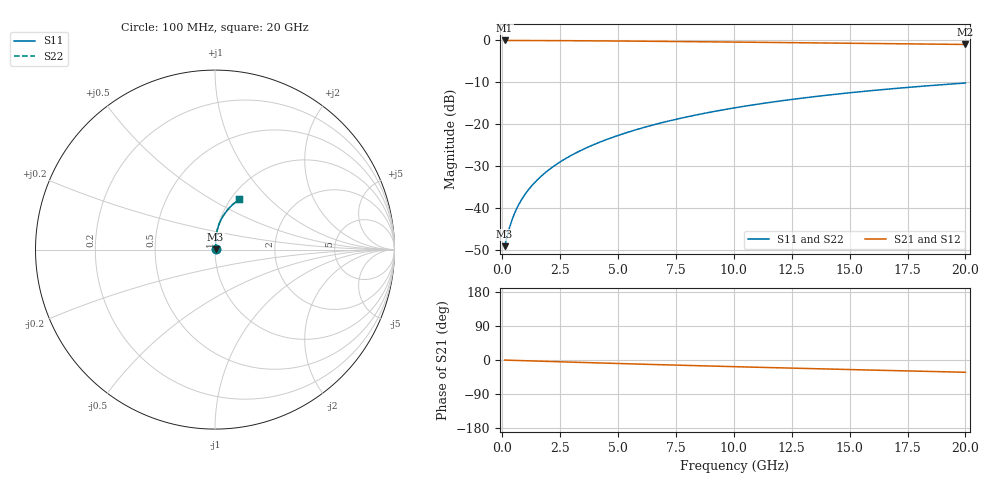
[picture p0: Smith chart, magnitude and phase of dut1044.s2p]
! Touchstone file exported from HFSS 2024.1.0
!  File:  C:/UserFiles/LocalFiles/RDL_TSV_Batchsim/temp_RDL_bottom_1044_1780051703.aedt
!  Generated:  06:50:56 PM May 29, 2026
!  Design:  RDL_bottom
!  Project:  temp_RDL_bottom_1044_1780051703
!  Setup:  Setup1
!  Solution:  Sweep
! Variables:
!  dtsv = 10.80580581um
!  hbump = 3um
!  htsv = 50.78um
!  ldown = 452.35um
!  lrdl = 100um
!  p = 40
!  p1 = 45.91um
!  rhole = 1um
!  t = 450um
!  tdown = 2.52um
!  trdl = 3.915915916um
!  wdown = 22.14um
!  wrdl = 20um
# GHz S MA R 50.000000
! Terminal data exported
! Port[1] = RDL1_T1
! Port[2] = RDL1_T2
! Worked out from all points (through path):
!   200 points, 100 MHz to 20 GHz, reference 50 ohm
!   highest |S21| = -0.03 dB at 100 MHz (marker M1); lowest = -1.0 dB at 20 GHz (marker M2)
!   group delay of S21, straight-line fit = 4.46 ps
!   lowest |S11| = -49.0 dB at 100 MHz (marker M3), VSWR 1.01, Z = 50.3 + j0.159 ohm
!   |S11| at or under -10 dB: start of sweep to end of sweep
!   |S22| runs from -49.0 to -10.2 dB; largest |S21 - S12| = 3.9e-15
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0.1  0.003529 26.5  0.9968 -0.2  0.9968 -0.2  0.003529 26.5
! Gamma 0 0 0 0
! Port Impedance 50 0 50 0
0.3  0.005713 53.8  0.9966 -0.6  0.9966 -0.6  0.005713 53.8
0.4  0.006996 60.0  0.9964 -0.8  0.9964 -0.8  0.006996 60.0
0.5  0.008297 64.2  0.9962 -1.0  0.9962 -1.0  0.008297 64.2
0.6  0.009601 67.2  0.996 -1.2  0.996 -1.2  0.009601 67.2
0.7  0.01091 69.6  0.9959 -1.4  0.9959 -1.4  0.01091 69.6
0.9  0.01354 73.2  0.9955 -1.7  0.9955 -1.7  0.01354 73.2
1.2  0.01754 76.8  0.995 -2.3  0.995 -2.3  0.01754 76.8
1.7  0.02436 80.3  0.994 -3.3  0.994 -3.3  0.02436 80.3
2.2  0.03137 82.4  0.9927 -4.2  0.9927 -4.2  0.03137 82.4
2.8  0.04 83.9  0.9909 -5.3  0.9909 -5.3  0.04 83.9
3.5  0.05038 84.8  0.9884 -6.6  0.9884 -6.6  0.05038 84.8
4.2  0.06106 85.1  0.9855 -7.8  0.9855 -7.8  0.06106 85.1
5  0.07361 85.1  0.9818 -9.3  0.9818 -9.3  0.07361 85.1
5.9  0.0881 84.6  0.9772 -10.8  0.9772 -10.8  0.0881 84.6
6.8  0.1029 83.9  0.9724 -12.4  0.9724 -12.4  0.1029 83.9
8.4  0.1296 82.0  0.9634 -15.0  0.9634 -15.0  0.1296 82.0
10.1  0.1581 79.6  0.9535 -17.7  0.9535 -17.7  0.1581 79.6
11.7  0.1846 77.2  0.9439 -20.2  0.9439 -20.2  0.1846 77.2
13.4  0.2121 74.5  0.9337 -22.8  0.9337 -22.8  0.2121 74.5
16.7  0.2631 69.2  0.9135 -27.7  0.9135 -27.7  0.2631 69.2
20  0.3101 64.2  0.893 -32.4  0.893 -32.4  0.3101 64.2
